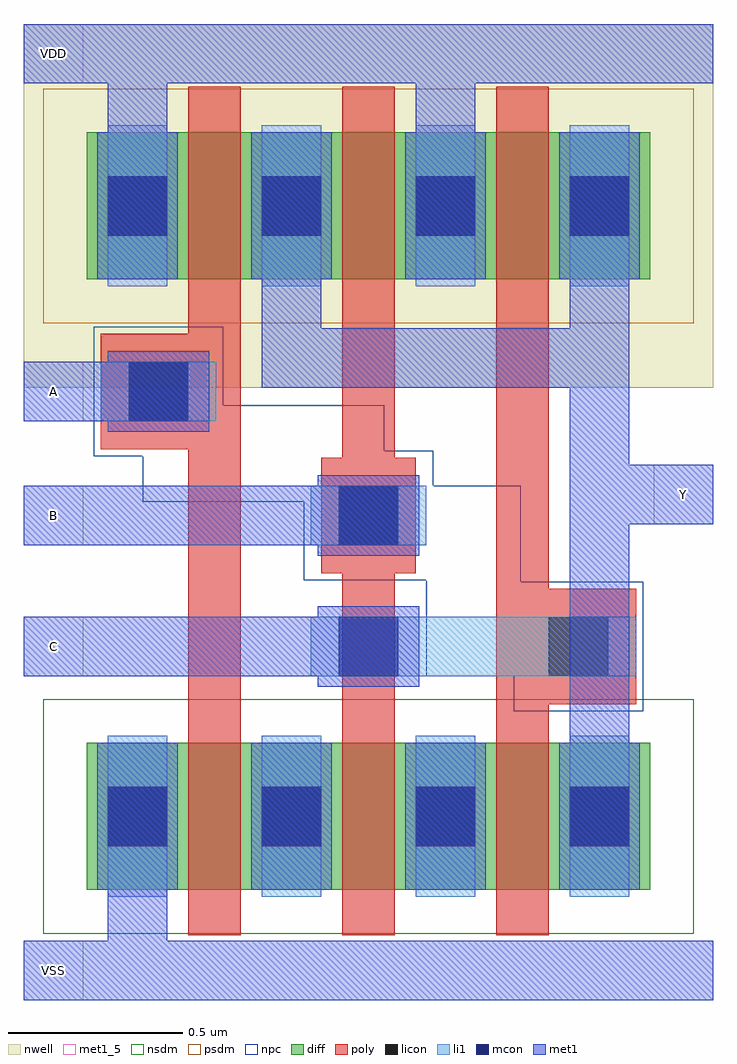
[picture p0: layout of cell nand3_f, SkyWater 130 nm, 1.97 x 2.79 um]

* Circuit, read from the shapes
.subckt nand3_f A B C VDD VSS Y
XM1 n1 A VSS VSUBS sky130_fd_pr__nfet_01v8 w=0.42 l=0.15
XM2 n2 B n1 VSUBS sky130_fd_pr__nfet_01v8 w=0.42 l=0.15
XM3 Y C n2 VSUBS sky130_fd_pr__nfet_01v8 w=0.42 l=0.15
XM4 Y A VDD n3 sky130_fd_pr__pfet_01v8 w=0.42 l=0.15
XM5 VDD B Y n3 sky130_fd_pr__pfet_01v8 w=0.42 l=0.15
XM6 Y C VDD n3 sky130_fd_pr__pfet_01v8 w=0.42 l=0.15
.ends

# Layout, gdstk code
import gdstk
lib = gdstk.Library(unit=1e-6, precision=1e-09)
def R(c, l, rs):  # rectangles x0, y0, x1, y1
    for r in rs: c.add(gdstk.rectangle(r[:2], r[2:], *l))
def A(c, l, x, y, w, h, nx, ny, dx, dy):  # array of equal rectangles
    R(c, l, [(x+i*dx, y+j*dy, x+i*dx+w, y+j*dy+h) for i in range(nx) for j in range(ny)])
nwell = (64, 20)
diff = (65, 20)
poly = (66, 20)
licon = (66, 44)
li1 = (67, 20)
mcon = (67, 44)
met1_5 = (68, 5)
met1 = (68, 20)
nsdm = (93, 44)
psdm = (94, 20)
npc = (95, 20)

nand3_f = lib.new_cell('nand3_f')
R(nand3_f, nwell, [(0,2.44,1.97,3.48)])
R(nand3_f, diff, [(0.18,1.005,1.79,1.425), (0.18,2.75,1.79,3.17)])
R(nand3_f, poly, [(0.47,0.875,0.62,2.265), (0.91,0.875,1.06,1.91), (1.35,0.875,1.5,1.535), (1.35,1.535,1.75,1.865), (1.35,1.865,1.5,3.3), (0.85,1.91,1.12,2.24), (0.91,2.24,1.06,3.3), (0.22,2.265,0.62,2.595), (0.47,2.595,0.62,3.3)])
A(nand3_f, licon, 0.24, 1.13, 0.17, 0.17, 4, 2, 0.44, 1.745)
R(nand3_f, licon, [(1.5,1.615,1.67,1.785), (0.9,1.99,1.07,2.16), (0.3,2.345,0.47,2.515)])
A(nand3_f, li1, 0.24, 0.985, 0.17, 0.46, 4, 2, 0.44, 1.745)
R(nand3_f, li1, [(0.82,1.615,1.75,1.785), (0.82,1.99,1.15,2.16), (0.22,2.345,0.55,2.515)])
A(nand3_f, mcon, 0.24, 1.13, 0.17, 0.17, 4, 2, 0.44, 1.745)
R(nand3_f, mcon, [(0.9,1.615,1.07,1.785), (0.9,1.99,1.07,2.16), (0.3,2.345,0.47,2.515)])
R(nand3_f, met1_5, [(0,0.69,0.17,0.86), (0,1.615,0.17,1.785), (0,1.99,0.17,2.16), (1.8,2.05,1.97,2.22), (0,2.345,0.17,2.515), (0,3.31,0.17,3.48)])
A(nand3_f, met1, 0.21, 1.005, 0.23, 0.42, 4, 2, 0.44, 1.745)
R(nand3_f, met1, [(0,0.69,1.97,0.86), (0.24,0.86,0.41,1.005), (1.56,1.425,1.73,2.05), (0.84,1.585,1.13,1.615), (0,1.615,1.13,1.785), (0.84,1.785,1.13,1.815), (0.84,1.96,1.13,1.99), (0,1.99,1.13,2.16), (1.56,2.05,1.97,2.22), (0.84,2.16,1.13,2.19), (1.56,2.22,1.73,2.44), (0.24,2.315,0.53,2.345), (0,2.345,0.53,2.515), (0.68,2.44,1.73,2.61), (0.24,2.515,0.53,2.545), (0.68,2.61,0.85,2.75), (1.56,2.61,1.73,2.75), (0.24,3.17,0.41,3.31), (1.12,3.17,1.29,3.31), (0,3.31,1.97,3.48)])
R(nand3_f, nsdm, [(0.055,0.88,1.915,1.55)])
R(nand3_f, psdm, [(0.055,2.625,1.915,3.295)])
R(nand3_f, npc, [(1.4,1.515,1.77,1.615), (1.15,1.615,1.77,1.885), (1.15,1.885,1.42,1.89), (0.8,1.89,1.42,2.115), (0.34,2.115,1.42,2.16), (0.34,2.16,1.17,2.245), (0.2,2.245,1.17,2.26), (0.2,2.26,1.03,2.39), (0.2,2.39,0.57,2.615)])
nand3_f.add(gdstk.Label('VDD', (0.085,3.395), layer=68, texttype=5))
nand3_f.add(gdstk.Label('A', (0.085,2.43), layer=68, texttype=5))
nand3_f.add(gdstk.Label('B', (0.085,2.075), layer=68, texttype=5))
nand3_f.add(gdstk.Label('C', (0.085,1.7), layer=68, texttype=5))
nand3_f.add(gdstk.Label('VSS', (0.085,0.775), layer=68, texttype=5))
nand3_f.add(gdstk.Label('Y', (1.885,2.135), layer=68, texttype=5))

lib.write_gds('nand3_f.gds')
